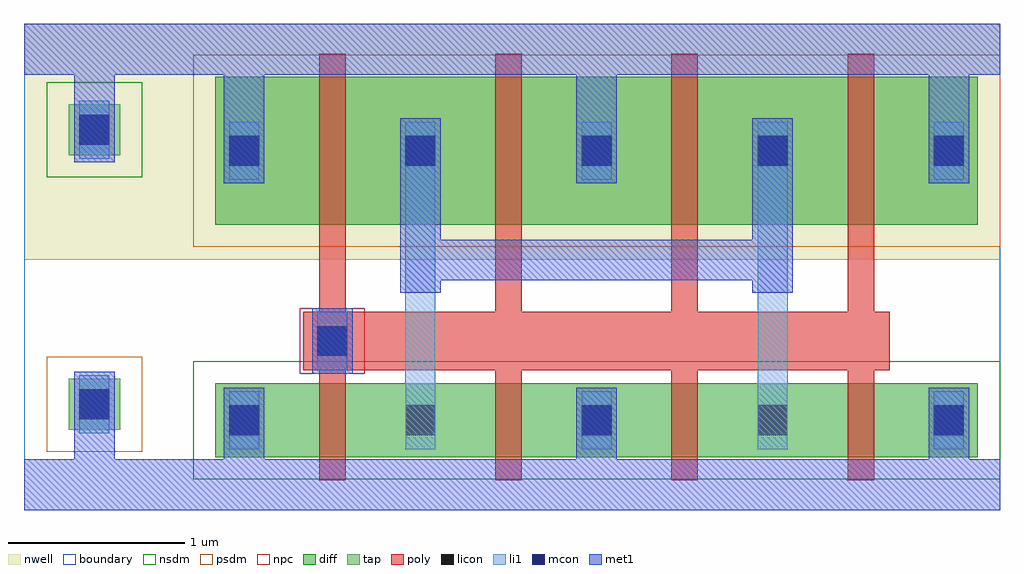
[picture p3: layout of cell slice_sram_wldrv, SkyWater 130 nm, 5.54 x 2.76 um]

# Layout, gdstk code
import gdstk
lib = gdstk.Library(unit=1e-6, precision=1e-09)
def R(c, l, rs):  # rectangles x0, y0, x1, y1
    for r in rs: c.add(gdstk.rectangle(r[:2], r[2:], *l))
def A(c, l, x, y, w, h, nx, ny, dx, dy):  # array of equal rectangles
    R(c, l, [(x+i*dx, y+j*dy, x+i*dx+w, y+j*dy+h) for i in range(nx) for j in range(ny)])
nwell = (64, 20)
diff = (65, 20)
tap = (65, 44)
poly = (66, 20)
licon = (66, 44)
li1 = (67, 20)
mcon = (67, 44)
met1 = (68, 20)
nsdm = (93, 44)
psdm = (94, 20)
npc = (95, 20)
boundary = (235, 4)

slice_sram_wldrv = lib.new_cell('slice_sram_wldrv')
R(slice_sram_wldrv, nwell, [(0,1.42,5.54,2.76)])
R(slice_sram_wldrv, diff, [(1.085,0.3,5.415,0.72), (1.085,1.62,5.415,2.46)])
R(slice_sram_wldrv, tap, [(0.255,0.455,0.545,0.745), (0.255,2.015,0.545,2.305)])
A(slice_sram_wldrv, poly, 1.675, 0.17, 0.15, 2.42, 4, 1, 1, 0)
A(slice_sram_wldrv, poly, 1.585, 0.795, 0.33, 0.33, 4, 1, 1, 0)
R(slice_sram_wldrv, poly, [(1.585,0.795,4.915,1.125)])
A(slice_sram_wldrv, licon, 1.165, 0.425, 0.17, 0.17, 5, 2, 1, 1.53)
R(slice_sram_wldrv, licon, [(0.315,0.515,0.485,0.685), (1.665,0.875,1.835,1.045), (0.315,2.075,0.485,2.245)])
A(slice_sram_wldrv, li1, 1.165, 0.345, 0.17, 0.33, 5, 2, 1, 1.53)
R(slice_sram_wldrv, li1, [(0.315,0.435,0.485,0.765), (2.165,0.51,2.335,2.04), (4.165,0.51,4.335,2.04), (1.665,0.795,1.835,1.125), (0.315,1.995,0.485,2.325)])
A(slice_sram_wldrv, mcon, 1.165, 0.425, 0.17, 0.17, 3, 1, 2, 0)
A(slice_sram_wldrv, mcon, 1.165, 1.955, 0.17, 0.17, 5, 1, 1, 0)
R(slice_sram_wldrv, mcon, [(0.315,0.515,0.485,0.685), (1.665,0.875,1.835,1.045), (0.315,2.075,0.485,2.245)])
A(slice_sram_wldrv, met1, 1.135, 0.145, 0.23, 0.55, 3, 1, 2, 0)
A(slice_sram_wldrv, met1, 1.135, 1.855, 0.23, 0.76, 3, 1, 2, 0)
R(slice_sram_wldrv, met1, [(0,0,5.54,0.29), (0.285,0.145,0.515,0.6), (0.285,0.415,0.515,0.785), (1.635,0.775,1.865,1.145), (2.135,1.235,2.365,2.225), (4.135,1.235,4.365,2.225), (2.135,1.305,4.365,1.535), (0.285,1.975,0.515,2.345), (0.285,2.16,0.515,2.615), (0,2.47,5.54,2.76)])
R(slice_sram_wldrv, nsdm, [(0.96,0.175,5.54,0.845), (0.13,1.89,0.67,2.43)])
R(slice_sram_wldrv, psdm, [(0.13,0.33,0.67,0.87), (0.96,1.495,5.54,2.585)])
R(slice_sram_wldrv, npc, [(1.565,0.775,1.935,1.145)])
R(slice_sram_wldrv, boundary, [(0,0,5.54,2.76)])

lib.write_gds('slice_sram_wldrv.gds')
